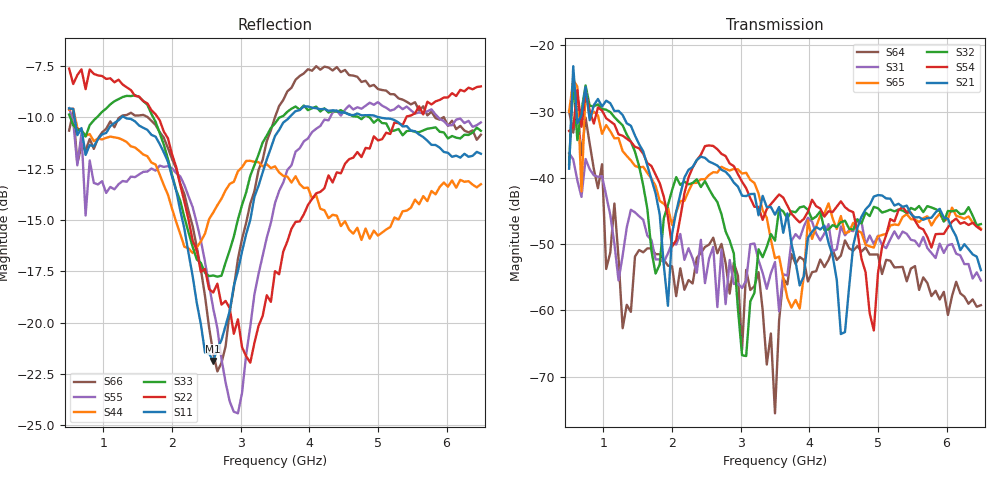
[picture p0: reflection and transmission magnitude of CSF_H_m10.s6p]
!Keysight Technologies,M9804A,MY58100912,A.14.10.03
!Date: Thursday, April 27, 2023 10:28:33
!Correction: S11(C  6-Port  )
!S12(C  6-Port  )
!S13(C  6-Port  )
!S14(C  6-Port  )
!S15(C  6-Port  )
!S16(C  6-Port  )
!S21(C  6-Port  )
!S22(C  6-Port  )
!S23(C  6-Port  )
!S24(C  6-Port  )
!S25(C  6-Port  )
!S26(C  6-Port  )
!S31(C  6-Port  )
!S32(C  6-Port  )
!S33(C  6-Port  )
!S34(C  6-Port  )
!S35(C  6-Port  )
!S36(C  6-Port  )
!S41(C  6-Port  )
!S42(C  6-Port  )
!S43(C  6-Port  )
!S44(C  6-Port  )
!S45(C  6-Port  )
!S46(C  6-Port  )
!S51(C  6-Port  )
!S52(C  6-Port  )
!S53(C  6-Port  )
!S54(C  6-Port  )
!S55(C  6-Port  )
!S56(C  6-Port  )
!S61(C  6-Port  )
!S62(C  6-Port  )
!S63(C  6-Port  )
!S64(C  6-Port  )
!S65(C  6-Port  )
!S66(C  6-Port  )
!S6P File: Measurement: :
# Hz S  RI  R 50
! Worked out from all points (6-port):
!   101 points, 500 MHz to 6.5 GHz, reference 50 ohm
!   strongest paths, dB at 500 MHz, 2 GHz, 3.5 GHz, 5 GHz, 6.5 GHz:
!     S21: -38.6, -48.4, -45.5, -42.6, -53.9
!     S54: -32.9, -50.4, -43.2, -54.4, -47.8
!     S32: -38.0, -41.9, -49.5, -44.6, -47.0
!     S65: -30.0, -47.1, -52.1, -48.8, -47.6
!     S31: -36.3, -49.8, -52.7, -48.7, -55.5
!     S64: -29.9, -53.3, -75.5, -51.6, -59.2
!   lowest |S11| = -21.9 dB at 2.6 GHz (marker M1), VSWR 1.18, Z = 42.8 + j1.96 ohm
!   |S11| at or under -10 dB: 579.1 MHz to 1.265 GHz (686.3 MHz wide, 74.4 % of centre); 1.307 GHz to 3.71 GHz (2.403 GHz wide, 95.8 % of centre); 5.015 GHz to end of sweep
